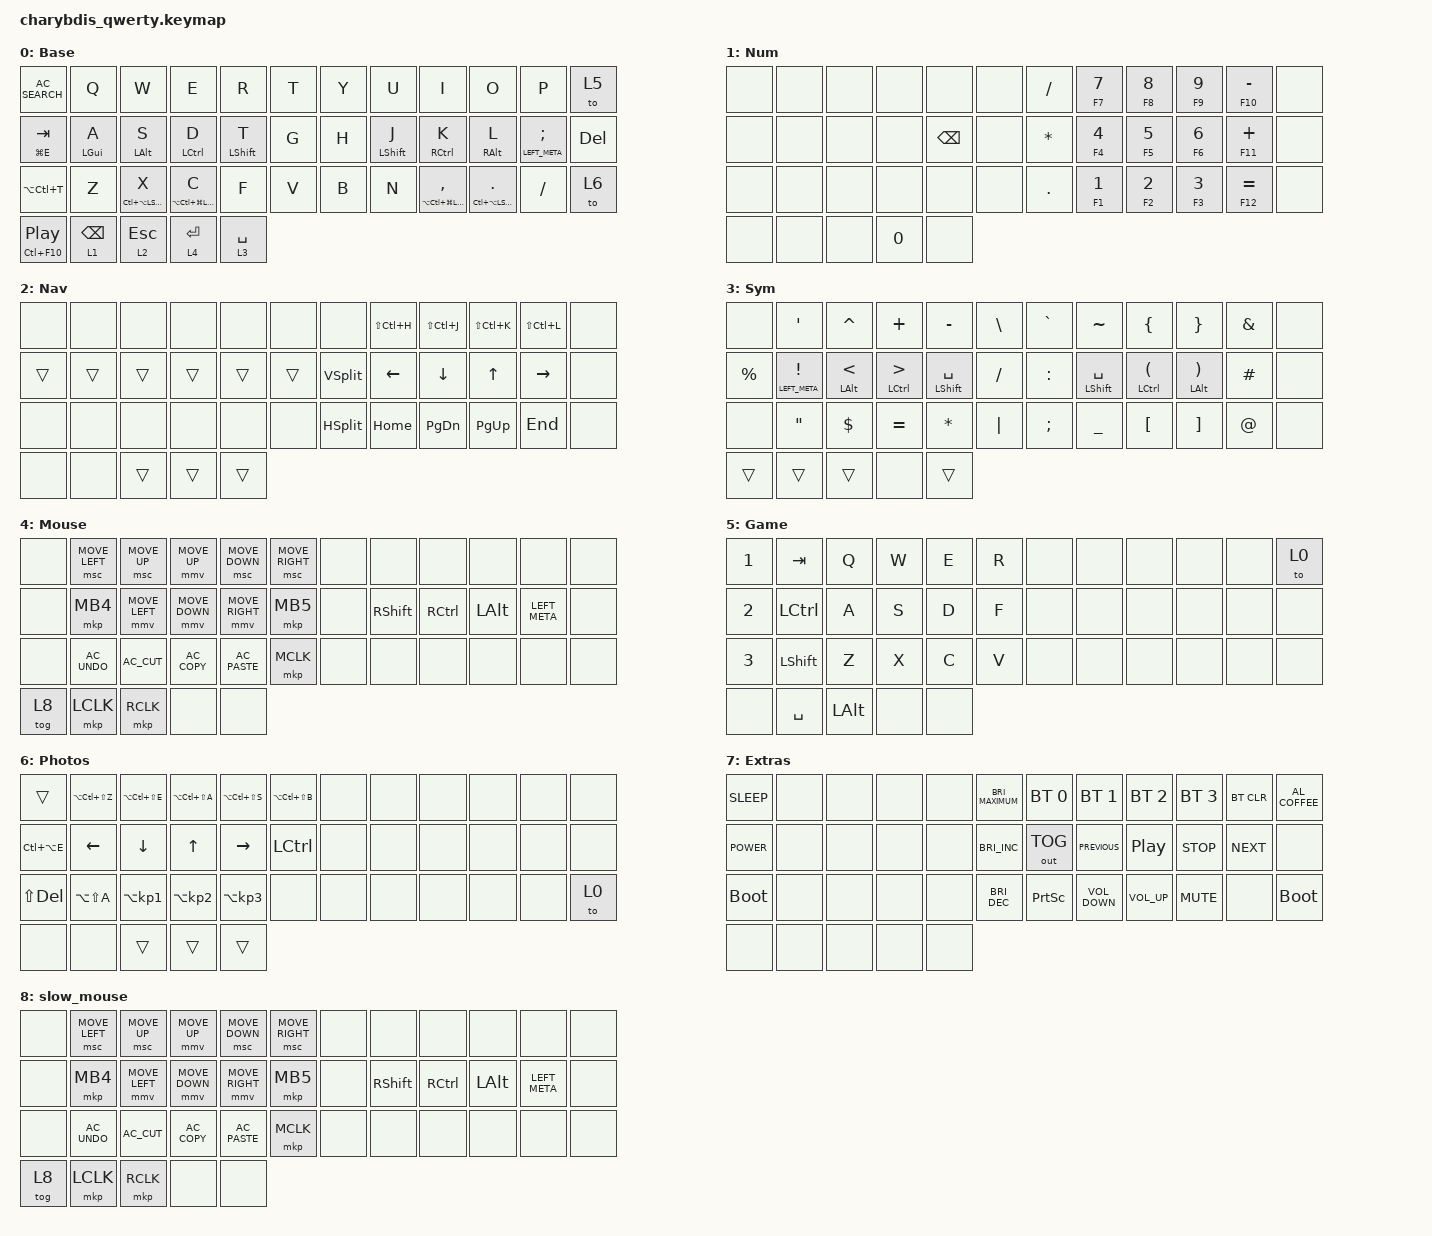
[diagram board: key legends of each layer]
#include <behaviors/mouse_keys.dtsi>
#include <behaviors.dtsi>
#include <dt-bindings/zmk/bt.h>
#include <dt-bindings/zmk/keys.h>
#include <dt-bindings/zmk/mouse.h>
#include <dt-bindings/zmk/outputs.h>

#define U_TAPPING_TERM 200

/ {
    chosen { zmk,matrix_transform = &default_transform; };
};

/ {
    hm: homerow_mod {
        compatible = "zmk,behavior-hold-tap";
        #binding-cells = <2>;
        flavor = "tap-preferred";
        tapping-term-ms = <250>;
        quick-tap-ms = <150>;
        require-prior-idle-ms = <125>;
        bindings = <&kp>, <&kp>;
    };

    combos {
        compatible = "zmk,combos";

        Delete {
            bindings = <&kp DELETE>;
            key-positions = <8 9>;
        };

        CapsWord {
            bindings = <&caps_word>;
            key-positions = <17 18>;
        };

        Layer_7 {
            bindings = <&mo 7>;
            key-positions = <38 39>;
        };
    };

    macros {
        VSplit: VSplit {
            compatible = "zmk,behavior-macro";
            #binding-cells = <0>;
            bindings = <&kp LEFT_SHIFT &kp SEMI &kp LS(V) &kp LS(S) &kp LS(P) &kp RET>;
            label = "VSPLIT";
        };

        HSplit: HSplit {
            compatible = "zmk,behavior-macro";
            #binding-cells = <0>;
            bindings = <&kp LEFT_SHIFT &kp SEMI &kp LS(S) &kp LS(P) &kp RET>;
            label = "HSPLIT";
        };
    };

    behaviors {
    };

    keymap {
        compatible = "zmk,keymap";

        Base {
            bindings = <
 &kp  C_AC_SEARCH           &kp  Q            &kp  W                     &kp  E                         &kp  R             &kp  T  &kp  Y  &kp  U             &kp  I                             &kp  O                          &kp  P                    &to  5   
 &hm  LG(E) TAB             &hm  LEFT_GUI A   &hm  LEFT_ALT S            &hm  LCTRL D                   &hm  LEFT_SHIFT T  &kp  G  &kp  H  &hm  LEFT_SHIFT J  &hm  RCTRL K                       &hm  RIGHT_ALT L                &hm  LEFT_META SEMICOLON  &kp  DEL 
 &kp  LA(LC(T))             &kp  Z            &mt  LC(LA(LEFT_SHIFT)) X  &mt  LA(LC(LG(LEFT_SHIFT))) C  &kp  F             &kp  V  &kp  B  &kp  N             &mt  LA(LC(LG(LEFT_SHIFT))) COMMA  &mt  LC(LA(LEFT_SHIFT)) PERIOD  &kp  FSLH                 &to  6   
 &hm  LC(F10) C_PLAY_PAUSE  &lt  1 BACKSPACE  &lt  2 ESCAPE              &lt  4 RETURN                  &lt  3 SPACE       
            >;
        };

        Num {
            bindings = <
&none  &none  &none  &none  &none          &none    &kp SLASH  &hm F7 N7  &hm F8 N8  &hm F9 N9  &hm F10 MINUS  &none
&none  &none  &none  &none  &kp BACKSPACE  &none    &kp ASTRK  &hm F4 N4  &hm F5 N5  &hm F6 N6  &hm F11 PLUS   &none
&none  &none  &none  &none  &none          &none    &kp DOT    &hm F1 N1  &hm F2 N2  &hm F3 N3  &hm F12 EQUAL  &none
                     &none  &none          &none    &kp N0     &none
            >;
        };

        Nav {
            bindings = <
&none   &none   &none   &none   &none   &none     &none    &kp LS(LC(H))   &kp LS(LC(J))  &kp LS(LC(K))  &kp LS(LC(L))    &none
&trans  &trans  &trans  &trans  &trans  &trans    &VSplit  &kp LEFT_ARROW  &kp DOWN       &kp UP         &kp RIGHT_ARROW  &none
&none   &none   &none   &none   &none   &none     &HSplit  &kp HOME        &kp PG_DN      &kp PG_UP      &kp END          &none
                        &none   &none   &trans    &trans   &trans
            >;
        };

        Sym {
            bindings = <
&none      &kp SQT                    &kp CARET        &kp PLUS      &kp MINUS             &kp BSLH     &kp GRAVE      &kp TILDE             &kp LEFT_BRACE  &kp RIGHT_BRACE    &kp AMPS     &none
&kp PRCNT  &hm LEFT_META EXCLAMATION  &hm LEFT_ALT LT  &hm LCTRL GT  &hm LEFT_SHIFT SPACE  &kp SLASH    &kp COLON      &mt LEFT_SHIFT SPACE  &hm LCTRL LPAR  &hm LEFT_ALT RPAR  &kp HASH     &none
&none      &kp DQT                    &kp DLLR         &kp EQUAL     &kp ASTRK             &kp PIPE     &kp SEMICOLON  &kp UNDERSCORE        &kp LBKT        &kp RBKT           &kp AT_SIGN  &none
                                                       &trans        &trans                &trans       &none          &trans
            >;
        };

        Mouse {
            bindings = <
&none  &msc MOVE_LEFT  &msc MOVE_UP    &mmv MOVE_UP    &msc MOVE_DOWN   &msc MOVE_RIGHT    &none  &none            &none      &none         &none          &none
&none  &mkp MB4        &mmv MOVE_LEFT  &mmv MOVE_DOWN  &mmv MOVE_RIGHT  &mkp MB5           &none  &kp RIGHT_SHIFT  &kp RCTRL  &kp LEFT_ALT  &kp LEFT_META  &none
&none  &kp C_AC_UNDO   &kp C_AC_CUT    &kp C_AC_COPY   &kp C_AC_PASTE   &mkp MCLK          &none  &none            &none      &none         &none          &none
                                       &tog 8          &mkp LCLK        &mkp RCLK          &none  &none
            >;
        };

        Game {
            bindings = <
&kp N1  &kp TAB    &kp Q  &kp W  &kp E      &kp R           &none  &none  &none  &none  &none  &to 0
&kp N2  &kp LCTRL  &kp A  &kp S  &kp D      &kp F           &none  &none  &none  &none  &none  &none
&kp N3  &kp LSHFT  &kp Z  &kp X  &kp C      &kp V           &none  &none  &none  &none  &none  &none
                          &none  &kp SPACE  &kp LEFT_ALT    &none  &none
            >;
        };

        Photos {
            bindings = <
&trans          &kp LA(LC(LS(Z)))  &kp LA(LC(LS(E)))  &kp LA(LC(LS(A)))  &kp LA(LC(LS(S)))  &kp LA(LC(LS(B)))    &none   &none   &none  &none  &none  &none
&kp LC(LA(E))   &kp LEFT           &kp DOWN           &kp UP             &kp RIGHT          &kp LCTRL            &none   &none   &none  &none  &none  &none
&kp LS(DELETE)  &kp LA(LS(A))      &kp LA(KP_N1)      &kp LA(KP_N2)      &kp LA(KP_N3)      &none                &none   &none   &none  &none  &none  &to 0
                                                      &none              &none              &trans               &trans  &trans
            >;
        };

        Extras {
            bindings = <
&kp C_SLEEP  &none  &none  &none  &none  &kp C_BRIGHTNESS_MAXIMUM    &bt BT_SEL 0     &bt BT_SEL 1       &bt BT_SEL 2      &bt BT_SEL 3  &bt BT_CLR  &kp C_AL_COFFEE
&kp C_POWER  &none  &none  &none  &none  &kp C_BRIGHTNESS_INC        &out OUT_TOG     &kp C_PREVIOUS     &kp C_PLAY_PAUSE  &kp C_STOP    &kp C_NEXT  &none
&bootloader  &none  &none  &none  &none  &kp C_BRIGHTNESS_DEC        &kp PRINTSCREEN  &kp C_VOLUME_DOWN  &kp C_VOLUME_UP   &kp K_MUTE    &none       &bootloader
                           &none  &none  &none                       &none            &none
            >;
        };

        slow_mouse {
            bindings = <
&none  &msc MOVE_LEFT  &msc MOVE_UP    &mmv MOVE_UP    &msc MOVE_DOWN   &msc MOVE_RIGHT    &none  &none            &none      &none         &none          &none
&none  &mkp MB4        &mmv MOVE_LEFT  &mmv MOVE_DOWN  &mmv MOVE_RIGHT  &mkp MB5           &none  &kp RIGHT_SHIFT  &kp RCTRL  &kp LEFT_ALT  &kp LEFT_META  &none
&none  &kp C_AC_UNDO   &kp C_AC_CUT    &kp C_AC_COPY   &kp C_AC_PASTE   &mkp MCLK          &none  &none            &none      &none         &none          &none
                                       &tog 8          &mkp LCLK        &mkp RCLK          &none  &none
            >;
        };
    };
};
